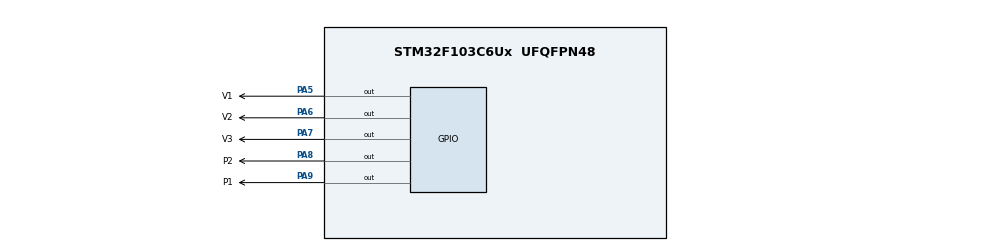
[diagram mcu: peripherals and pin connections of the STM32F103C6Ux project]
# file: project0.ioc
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Mcu.Family=STM32F1
Mcu.Name=STM32F103C6Ux
Mcu.Package=UFQFPN48
NVIC.PriorityGroup=NVIC_PRIORITYGROUP_4
NVIC.TIM2_IRQn=true\:0\:0\:false\:false\:true\:true\:true
PA5.GPIO_Label=V1
PA5.Signal=GPIO_Output
PA6.GPIO_Label=V2
PA6.Signal=GPIO_Output
PA7.GPIO_Label=V3
PA7.Signal=GPIO_Output
PA8.GPIO_Label=P2
PA8.Signal=GPIO_Output
PA9.GPIO_Label=P1
PA9.Signal=GPIO_Output
ProjectManager.HeapSize=0x200
ProjectManager.StackSize=0x400
ProjectManager.TargetToolchain=STM32CubeIDE
RCC.APB1Freq_Value=8000000
RCC.APB2Freq_Value=8000000
VP_SYS_VS_ND.Mode=No_Debug
VP_TIM2_VS_ClockSourceINT.Mode=Internal
board=custom

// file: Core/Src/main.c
/* USER CODE BEGIN Header */
/**
  ******************************************************************************
  * @file           : main.c
  * @brief          : Main program body
  ******************************************************************************
  * @attention
  *
  * <h2><center>&copy; Copyright (c) 2024 STMicroelectronics.
  * All rights reserved.</center></h2>
  *
  * This software component is licensed by ST under BSD 3-Clause license,
  * the "License"; You may not use this file except in compliance with the
  * License. You may obtain a copy of the License at:
  *                        opensource.org/licenses/BSD-3-Clause
  *
  ******************************************************************************
  */
/* USER CODE END Header */
#include "main.h"
#include "software_timer.h"
#include "scheduler.h"

TIM_HandleTypeDef htim2;

void SystemClock_Config(void);
static void MX_GPIO_Init(void);
static void MX_TIM2_Init(void);

/* USER CODE BEGIN 0 */
#define INIT 0
#define T1 1
#define T2 2
#define T3 3
#define T4 4
#define T5 5
#define IDLE 6

int status = INIT;

void fsm(){
		switch(status){
			case INIT:
				HAL_GPIO_WritePin(V1_GPIO_Port, V1_Pin, GPIO_PIN_SET);
				HAL_GPIO_WritePin(V2_GPIO_Port, V2_Pin, GPIO_PIN_SET);
				HAL_GPIO_WritePin(V3_GPIO_Port, V3_Pin, GPIO_PIN_SET);
				HAL_GPIO_WritePin(P1_GPIO_Port, P1_Pin, GPIO_PIN_SET);
				HAL_GPIO_WritePin(P2_GPIO_Port, P2_Pin, GPIO_PIN_SET);
				setTimer(0, 500);
				status = T1;
				break;
			case T1:
				HAL_GPIO_WritePin(V1_GPIO_Port, V1_Pin, GPIO_PIN_RESET);
				if(isTimerExpired(0) == 1)
				{
					HAL_GPIO_WritePin(V1_GPIO_Port, V1_Pin, GPIO_PIN_SET);
					setTimer(0, 500);
					status = T2;
				}

				break;
			case T2:
				HAL_GPIO_WritePin(V2_GPIO_Port, V2_Pin, GPIO_PIN_RESET);
				if(isTimerExpired(0) == 1)
				{
					HAL_GPIO_WritePin(V2_GPIO_Port, V2_Pin, GPIO_PIN_SET);
					setTimer(0, 5000);
					status = T3;
				}

				break;
			case T3:
				HAL_GPIO_WritePin(V3_GPIO_Port, V3_Pin, GPIO_PIN_RESET);
				if(isTimerExpired(0) == 1)
				{
					HAL_GPIO_WritePin(V3_GPIO_Port, V3_Pin, GPIO_PIN_SET);
					setTimer(0, 500);
					status = T4;
				}

				break;
			case T4:
				HAL_GPIO_WritePin(P1_GPIO_Port, P1_Pin, GPIO_PIN_RESET);
				if(isTimerExpired(0) == 1)
				{
					HAL_GPIO_WritePin(P1_GPIO_Port, P1_Pin, GPIO_PIN_SET);
					setTimer(0, 1000);
					status = T5;
				}

				break;
			case T5:
				HAL_GPIO_WritePin(P2_GPIO_Port, P2_Pin, GPIO_PIN_RESET);
				if(isTimerExpired(0) == 1)
				{
					HAL_GPIO_WritePin(P2_GPIO_Port, P2_Pin, GPIO_PIN_SET);
					setTimer(0, 6000);
					status = IDLE;
				}

				break;
			case IDLE:
				if(isTimerExpired(0) == 1)
				{
					setTimer(0, 50);
					status = T1;
				}

				break;
		}

	}
/* USER CODE END 0 */

int main(void)
{

  /* MCU Configuration--------------------------------------------------------*/

  /* Reset of all peripherals, Initializes the Flash interface and the Systick. */
  HAL_Init();

  /* Configure the system clock */
  SystemClock_Config();

  /* Initialize all configured peripherals */
  MX_GPIO_Init();
  MX_TIM2_Init();

  /* Infinite loop */
  /* USER CODE BEGIN WHILE */
    /* Infinite loop */
    /* USER CODE BEGIN WHILE */
  status = INIT;
    while (1)
    {
      /* USER CODE END WHILE */
  	  fsm();
    }
}

void SystemClock_Config(void)
{
  RCC_OscInitTypeDef RCC_OscInitStruct = {0};
  RCC_ClkInitTypeDef RCC_ClkInitStruct = {0};

  /** Initializes the RCC Oscillators according to the specified parameters
  * in the RCC_OscInitTypeDef structure.
  */
  RCC_OscInitStruct.OscillatorType = RCC_OSCILLATORTYPE_HSI;
  RCC_OscInitStruct.HSIState = RCC_HSI_ON;
  RCC_OscInitStruct.HSICalibrationValue = RCC_HSICALIBRATION_DEFAULT;
  RCC_OscInitStruct.PLL.PLLState = RCC_PLL_NONE;
  if (HAL_RCC_OscConfig(&RCC_OscInitStruct) != HAL_OK)
  {
    Error_Handler();
  }
  /** Initializes the CPU, AHB and APB buses clocks
  */
  RCC_ClkInitStruct.ClockType = RCC_CLOCKTYPE_HCLK|RCC_CLOCKTYPE_SYSCLK
                              |RCC_CLOCKTYPE_PCLK1|RCC_CLOCKTYPE_PCLK2;
  RCC_ClkInitStruct.SYSCLKSource = RCC_SYSCLKSOURCE_HSI;
  RCC_ClkInitStruct.AHBCLKDivider = RCC_SYSCLK_DIV1;
  RCC_ClkInitStruct.APB1CLKDivider = RCC_HCLK_DIV1;
  RCC_ClkInitStruct.APB2CLKDivider = RCC_HCLK_DIV1;

  if (HAL_RCC_ClockConfig(&RCC_ClkInitStruct, FLASH_LATENCY_0) != HAL_OK)
  {
    Error_Handler();
  }
}

static void MX_TIM2_Init(void)
{

  TIM_ClockConfigTypeDef sClockSourceConfig = {0};
  TIM_MasterConfigTypeDef sMasterConfig = {0};

  htim2.Instance = TIM2;
  htim2.Init.Prescaler = 0;
  htim2.Init.CounterMode = TIM_COUNTERMODE_UP;
  htim2.Init.Period = 65535;
  htim2.Init.ClockDivision = TIM_CLOCKDIVISION_DIV1;
  htim2.Init.AutoReloadPreload = TIM_AUTORELOAD_PRELOAD_DISABLE;
  if (HAL_TIM_Base_Init(&htim2) != HAL_OK)
  {
    Error_Handler();
  }
  sClockSourceConfig.ClockSource = TIM_CLOCKSOURCE_INTERNAL;
  if (HAL_TIM_ConfigClockSource(&htim2, &sClockSourceConfig) != HAL_OK)
  {
    Error_Handler();
  }
  sMasterConfig.MasterOutputTrigger = TIM_TRGO_RESET;
  sMasterConfig.MasterSlaveMode = TIM_MASTERSLAVEMODE_DISABLE;
  if (HAL_TIMEx_MasterConfigSynchronization(&htim2, &sMasterConfig) != HAL_OK)
  {
    Error_Handler();
  }

}

static void MX_GPIO_Init(void)
{
  GPIO_InitTypeDef GPIO_InitStruct = {0};

  /* GPIO Ports Clock Enable */
  __HAL_RCC_GPIOA_CLK_ENABLE();

  /*Configure GPIO pin Output Level */
  HAL_GPIO_WritePin(GPIOA, V1_Pin|V2_Pin|V3_Pin|P2_Pin
                          |P1_Pin, GPIO_PIN_RESET);

  /*Configure GPIO pins : V1_Pin V2_Pin V3_Pin P2_Pin
                           P1_Pin */
  GPIO_InitStruct.Pin = V1_Pin|V2_Pin|V3_Pin|P2_Pin
                          |P1_Pin;
  GPIO_InitStruct.Mode = GPIO_MODE_OUTPUT_PP;
  GPIO_InitStruct.Pull = GPIO_NOPULL;
  GPIO_InitStruct.Speed = GPIO_SPEED_FREQ_LOW;
  HAL_GPIO_Init(GPIOA, &GPIO_InitStruct);

}

void Error_Handler(void)
{
  __disable_irq();
  while (1)
  {
  }
}

/************************ (C) COPYRIGHT STMicroelectronics *****END OF FILE****/
